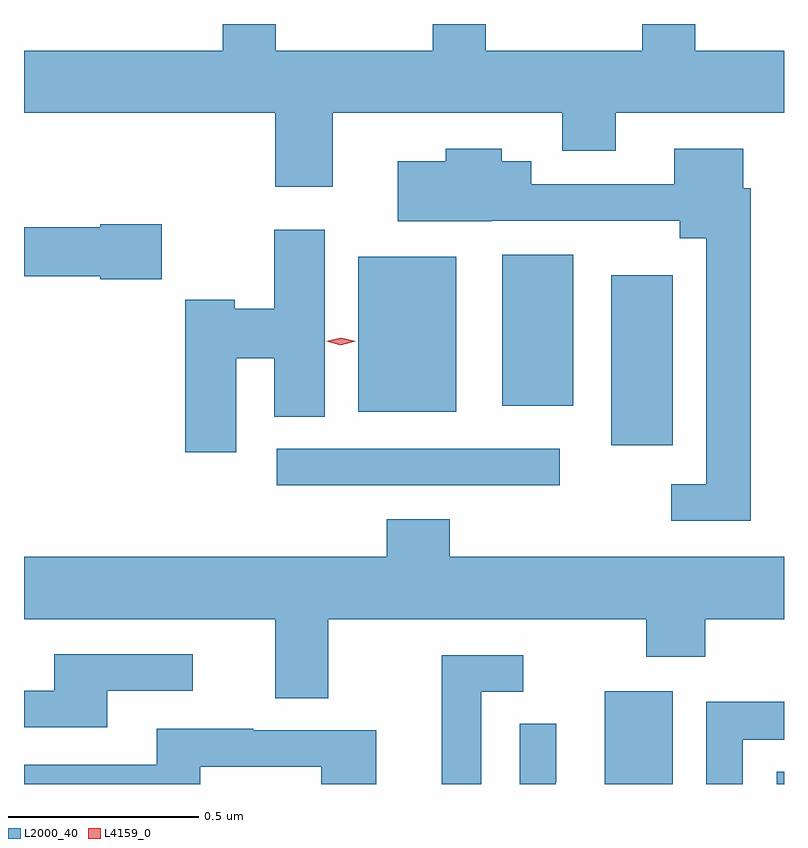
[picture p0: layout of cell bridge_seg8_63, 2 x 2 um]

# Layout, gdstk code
import gdstk
lib = gdstk.Library(unit=1e-6, precision=1e-09)
def R(c, l, rs):  # rectangles x0, y0, x1, y1
    for r in rs: c.add(gdstk.rectangle(r[:2], r[2:], *l))
def P(c, l, *ps):  # polygons
    for p in ps: c.add(gdstk.Polygon(p, *l))
L2000_40 = (2000, 40)
L4159_0 = (4159, 0)

bridge_seg8_63 = lib.new_cell('bridge_seg8_63')
R(bridge_seg8_63, L2000_40, [(1108.4,1109.406,1108.579,1109.65), (1108.853,1109.406,1108.872,1109.438), (1107.537,1110.192,1108.282,1110.288), (1108.418,1110.297,1108.579,1110.745), (1107.752,1110.386,1108.009,1110.793), (1108.13,1110.401,1108.318,1110.799)])
P(bridge_seg8_63, L2000_40, [(1107.685,1111.172),(1108.289,1111.172),(1108.289,1111.073),(1108.429,1111.073),(1108.429,1111.172),(1108.872,1111.172),(1108.872,1111.336),(1108.639,1111.336),(1108.639,1111.406),(1108.499,1111.406),(1108.499,1111.336),(1108.087,1111.336),(1108.087,1111.406),(1107.947,1111.406),(1107.947,1111.336),(1107.535,1111.336),(1107.535,1111.406),(1107.395,1111.406),(1107.395,1111.336),(1106.872,1111.336),(1106.872,1111.172),(1107.533,1111.172),(1107.533,1110.978),(1107.685,1110.978)],
  [(1108.784,1110.974),(1108.765,1110.974),(1108.765,1111.078),(1108.583,1111.078),(1108.583,1110.984),(1108.207,1110.984),(1108.207,1111.045),(1108.129,1111.045),(1108.129,1111.078),(1107.982,1111.078),(1107.982,1111.045),(1107.855,1111.045),(1107.855,1110.887),(1108.103,1110.887),(1108.103,1110.888),(1108.598,1110.888),(1108.598,1110.842),(1108.668,1110.842),(1108.668,1110.195),(1108.575,1110.195),(1108.575,1110.099),(1108.784,1110.099)],
  [(1107.235,1110.879),(1107.072,1110.879),(1107.072,1110.871),(1106.872,1110.871),(1106.872,1110.742),(1107.072,1110.742),(1107.072,1110.734),(1107.235,1110.734)],
  [(1107.43,1110.527),(1107.53,1110.527),(1107.53,1110.373),(1107.664,1110.373),(1107.664,1110.865),(1107.53,1110.865),(1107.53,1110.657),(1107.426,1110.657),(1107.426,1110.68),(1107.296,1110.68),(1107.296,1110.279),(1107.43,1110.279)],
  [(1107.673,1109.84),(1108.51,1109.84),(1108.51,1109.741),(1108.665,1109.741),(1108.665,1109.84),(1108.872,1109.84),(1108.872,1110.004),(1107.992,1110.004),(1107.992,1110.103),(1107.827,1110.103),(1107.827,1110.004),(1106.872,1110.004),(1106.872,1109.84),(1107.533,1109.84),(1107.533,1109.632),(1107.673,1109.632)],
  [(1107.091,1109.652),(1107.316,1109.652),(1107.316,1109.748),(1106.951,1109.748),(1106.951,1109.652),(1106.872,1109.652),(1106.872,1109.556),(1107.091,1109.556)],
  [(1108.075,1109.649),(1108.186,1109.649),(1108.186,1109.745),(1107.971,1109.745),(1107.971,1109.406),(1108.075,1109.406)],
  [(1108.764,1109.523),(1108.872,1109.523),(1108.872,1109.622),(1108.668,1109.622),(1108.668,1109.406),(1108.764,1109.406)],
  [(1108.271,1109.41),(1108.272,1109.41),(1108.272,1109.564),(1108.176,1109.564),(1108.176,1109.406),(1108.271,1109.406)],
  [(1107.336,1109.451),(1107.654,1109.451),(1107.654,1109.406),(1107.799,1109.406),(1107.799,1109.547),(1107.475,1109.547),(1107.475,1109.551),(1107.221,1109.551),(1107.221,1109.457),(1106.872,1109.457),(1106.872,1109.406),(1107.336,1109.406)])
P(bridge_seg8_63, L4159_0, [(1107.706,1110.561),(1107.668,1110.571),(1107.668,1110.571),(1107.668,1110.571),(1107.706,1110.581),(1107.745,1110.571),(1107.745,1110.571),(1107.745,1110.571)])

lib.write_gds('bridge_seg8_63.gds')
